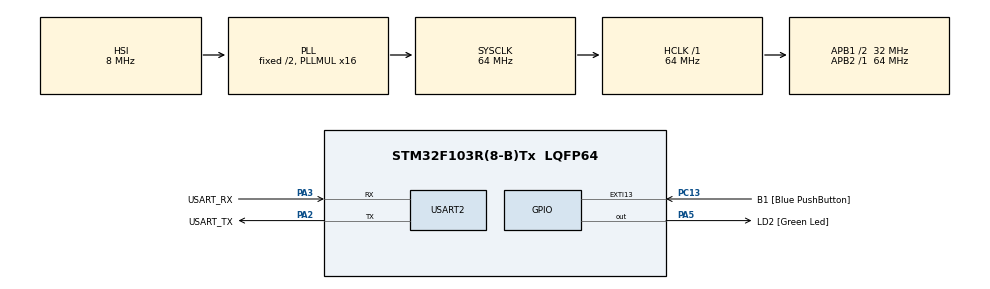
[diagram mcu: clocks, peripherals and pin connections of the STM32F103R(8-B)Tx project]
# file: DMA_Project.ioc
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Mcu.Family=STM32F1
Mcu.Name=STM32F103R(8-B)Tx
Mcu.Package=LQFP64
NVIC.EXTI15_10_IRQn=true\:0\:0\:false\:false\:true\:true\:true\:true
NVIC.PriorityGroup=NVIC_PRIORITYGROUP_4
PA13.GPIO_Label=TMS
PA13.Mode=Serial_Wire
PA13.Signal=SYS_JTMS-SWDIO
PA14.GPIO_Label=TCK
PA14.Mode=Serial_Wire
PA14.Signal=SYS_JTCK-SWCLK
PA2.GPIO_Label=USART_TX
PA2.GPIO_Mode=GPIO_MODE_AF_PP
PA2.GPIO_PuPd=GPIO_NOPULL
PA2.GPIO_Speed=GPIO_SPEED_FREQ_LOW
PA2.Mode=Asynchronous
PA2.Signal=USART2_TX
PA3.GPIO_Label=USART_RX
PA3.GPIO_Mode=GPIO_MODE_AF_PP
PA3.GPIO_PuPd=GPIO_NOPULL
PA3.GPIO_Speed=GPIO_SPEED_FREQ_LOW
PA3.Mode=Asynchronous
PA3.Signal=USART2_RX
PA5.GPIO_Label=LD2 [Green Led]
PA5.GPIO_ModeDefaultOutputPP=GPIO_MODE_OUTPUT_PP
PA5.GPIO_PuPd=GPIO_NOPULL
PA5.GPIO_Speed=GPIO_SPEED_FREQ_LOW
PA5.Signal=GPIO_Output
PB3.GPIO_Label=SWO
PB3.Signal=SYS_JTDO-TRACESWO
PC13-TAMPER-RTC.GPIO_Label=B1 [Blue PushButton]
PC13-TAMPER-RTC.GPIO_PuPd=GPIO_NOPULL
PC13-TAMPER-RTC.Signal=GPXTI13
PC14-OSC32_IN.Mode=LSE-External-Oscillator
PC14-OSC32_IN.Signal=RCC_OSC32_IN
PC15-OSC32_OUT.Mode=LSE-External-Oscillator
PC15-OSC32_OUT.Signal=RCC_OSC32_OUT
PD0-OSC_IN.Mode=HSE-External-Clock-Source
PD0-OSC_IN.Signal=RCC_OSC_IN
PD1-OSC_OUT.Mode=HSE-External-Clock-Source
PD1-OSC_OUT.Signal=RCC_OSC_OUT
ProjectManager.HeapSize=0x200
ProjectManager.StackSize=0x400
ProjectManager.TargetToolchain=STM32CubeIDE
RCC.AHBFreq_Value=64000000
RCC.APB1CLKDivider=RCC_HCLK_DIV2
RCC.APB1Freq_Value=32000000
RCC.APB1TimFreq_Value=64000000
RCC.APB2Freq_Value=64000000
RCC.APB2TimFreq_Value=64000000
RCC.HCLKFreq_Value=64000000
RCC.PLLMUL=RCC_PLL_MUL16
RCC.RTCClockSelection=RCC_RTCCLKSOURCE_LSE
RCC.SYSCLKFreq_VALUE=64000000
RCC.SYSCLKSource=RCC_SYSCLKSOURCE_PLLCLK
RCC.USBFreq_Value=64000000
USART2.VirtualMode=VM_ASYNC
board=NUCLEO-F103RB

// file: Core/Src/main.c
/* USER CODE BEGIN Header */
/**
  ******************************************************************************
  * @file           : main.c
  * @brief          : Main program body
  ******************************************************************************
  * @attention
  *
  * Copyright (c) 2026 STMicroelectronics.
  * All rights reserved.
  *
  * This software is licensed under terms that can be found in the LICENSE file
  * in the root directory of this software component.
  * If no LICENSE file comes with this software, it is provided AS-IS.
  *
  ******************************************************************************
  */
/* USER CODE END Header */
#include "main.h"

/* USER CODE BEGIN Includes */
#include <math.h>
#include <stdio.h>
#include "ensemble_link.h"   /* [합주] B1 DMA 전환·박자 펄스·게임 줄 */
/* USER CODE END Includes */

/* USER CODE BEGIN PD */
#define TIM_CLK  64000000UL   // Clock Configuration의 APB1 Timer clocks 값
#define FS       32000U       // 소리 샘플링 주파수
#define AUDIO_N  256U         // 소리 버퍼 길이
/* USER CODE END PD */

UART_HandleTypeDef huart2;

void SystemClock_Config(void);
static void MX_GPIO_Init(void);
static void MX_USART2_UART_Init(void);

/* USER CODE BEGIN 0 */
/* ===== 4줄 하프 테스트: 줄마다 다른 음 (F103RB, 폴링) ===== */
#define NCH 4
static const uint8_t ch[NCH] = {0, 1, 4, 8};                                  // A0 A1 A2 A3
static const float note_hz[NCH] = {261.63f, 293.66f, 329.63f, 392.00f};      // 도 레 미 솔

static uint16_t audio_buf[AUDIO_N];     // DMA → TIM3->CCR1 (0~255, 무음 128)
static int8_t   sine_tab[256];
static uint32_t phase[NCH], phase_inc[NCH];
static int32_t  vol[NCH];               // 줄마다 현재 음량 0~32
volatile uint8_t gate[NCH];             // 1이면 그 줄 소리 남

static void sound_test_init(void) {
  for (int i = 0; i < 256; i++)
    sine_tab[i] = (int8_t)(127.0f * sinf(6.2831853f * i / 256.0f));
  for (int c = 0; c < NCH; c++)
    phase_inc[c] = (uint32_t)(note_hz[c] * 4294967296.0 / FS);
}

// DMA가 버퍼 반을 다 쓰면 호출: 끊긴 줄들의 음을 더해서 화음
static void fill_audio(uint16_t *dst, uint32_t n) {
  for (uint32_t i = 0; i < n; i++) {
    int32_t s = 0;
    for (int c = 0; c < NCH; c++) {
      int32_t target = gate[c] ? 32 : 0;       // 4줄 다 울려도 0~255 안에 들어오게 32
      if (vol[c] < target) vol[c]++; else if (vol[c] > target) vol[c]--;
      phase[c] += phase_inc[c];
      s += (sine_tab[phase[c] >> 24] * vol[c]) / 128;
    }
    dst[i] = (uint16_t)(128 + s);
  }
}

static void audio_init(void) {
  RCC->APB2ENR |= RCC_APB2ENR_IOPAEN;
  RCC->AHBENR  |= RCC_AHBENR_DMA1EN;
  RCC->APB1ENR |= RCC_APB1ENR_TIM3EN | RCC_APB1ENR_TIM4EN;

  GPIOA->CRL = (GPIOA->CRL & ~(0xFU << (6 * 4))) | (0xBU << (6 * 4));   // PA6(D12) = TIM3_CH1
  GPIOA->CRL = (GPIOA->CRL & ~(0xFU << (5 * 4))) | (0x2U << (5 * 4));   // PA5(LD2) = 출력

  TIM3->PSC = 0; TIM3->ARR = 255; TIM3->CCR1 = 128;
  TIM3->CCMR1 = (6U << TIM_CCMR1_OC1M_Pos) | TIM_CCMR1_OC1PE;
  TIM3->CCER  = TIM_CCER_CC1E;
  TIM3->CR1   = TIM_CR1_ARPE | TIM_CR1_CEN;

  for (uint32_t i = 0; i < AUDIO_N; i++) audio_buf[i] = 128;

  DMA1_Channel7->CCR = 0;
  DMA1->IFCR = DMA_IFCR_CGIF7;
  DMA1_Channel7->CPAR  = (uint32_t)&TIM3->CCR1;
  DMA1_Channel7->CMAR  = (uint32_t)audio_buf;
  DMA1_Channel7->CNDTR = AUDIO_N;
  DMA1_Channel7->CCR = DMA_CCR_DIR | DMA_CCR_MSIZE_0 | DMA_CCR_PSIZE_0
                     | DMA_CCR_MINC | DMA_CCR_CIRC | DMA_CCR_PL_1
                     | DMA_CCR_HTIE | DMA_CCR_TCIE;
  NVIC_SetPriority(DMA1_Channel7_IRQn, 1);
  NVIC_EnableIRQ(DMA1_Channel7_IRQn);
  DMA1_Channel7->CCR |= DMA_CCR_EN;

  TIM4->PSC = 0; TIM4->ARR = TIM_CLK / FS - 1;
  TIM4->DIER = TIM_DIER_UDE;
  TIM4->CR1  = TIM_CR1_CEN;
}

void DMA1_Channel7_IRQHandler(void) {
  uint32_t isr = DMA1->ISR;
  if (isr & DMA_ISR_HTIF7) { DMA1->IFCR = DMA_IFCR_CHTIF7; fill_audio(&audio_buf[0], AUDIO_N / 2); }
  if (isr & DMA_ISR_TCIF7) { DMA1->IFCR = DMA_IFCR_CTCIF7; fill_audio(&audio_buf[AUDIO_N / 2], AUDIO_N / 2); }
}

/* ---- 광센서 4개: CPU가 차례로 읽음 (테스트용, DMA 아님) ---- */
static void adc_init(void) {
  RCC->APB2ENR |= RCC_APB2ENR_IOPAEN | RCC_APB2ENR_IOPBEN | RCC_APB2ENR_ADC1EN;
  RCC->CFGR = (RCC->CFGR & ~RCC_CFGR_ADCPRE) | RCC_CFGR_ADCPRE_DIV6;
  GPIOA->CRL &= ~((0xFU << (0 * 4)) | (0xFU << (1 * 4)) | (0xFU << (4 * 4)));  // PA0 PA1 PA4
  GPIOB->CRL &= ~(0xFU << (0 * 4));                                          // PB0
  ADC1->CR2 = ADC_CR2_ADON;
  HAL_Delay(1);
  ADC1->CR2 |= ADC_CR2_RSTCAL; while (ADC1->CR2 & ADC_CR2_RSTCAL);
  ADC1->CR2 |= ADC_CR2_CAL;    while (ADC1->CR2 & ADC_CR2_CAL);
  uint32_t smpr2 = 0;
  for (int c = 0; c < NCH; c++) smpr2 |= 7U << (3 * ch[c]);
  ADC1->SMPR2 = smpr2;
  ADC1->SQR1  = 0;
  ADC1->CR2   = ADC_CR2_ADON | ADC_CR2_EXTTRIG | (7U << ADC_CR2_EXTSEL_Pos);
}

static uint16_t adc_read(uint8_t channel) {
  ADC1->SQR3 = channel;
  ADC1->CR2 |= ADC_CR2_SWSTART;
  while (!(ADC1->SR & ADC_SR_EOC));
  return (uint16_t)ADC1->DR;
}

static uint16_t adc_read_avg(uint8_t channel) {    // 8번 평균
  uint32_t s = 0;
  for (int k = 0; k < 8; k++) s += adc_read(channel);
  return (uint16_t)(s / 8);
}

/* ===== [합주] 광센서 4개를 DMA로 읽기 (DMA ON) / 위의 폴링 그대로 (DMA OFF) =====
 * 두 모드 모두 "채널마다 최근 8번 평균"을 같은 메인 루프 주기로 쓴다. 다른 것은 누가 ADC 값을 옮기나 하나뿐.
 * DMA ON : ADC1 scan(0→1→4→8) + 연속 변환, DMA1 채널1 circular로 adc_dma_buf에 계속 채움 (CPU는 평균만)
 * DMA OFF: adc_read_avg() — CPU가 채널마다 SWSTART → EOC 기다림을 32번
 * 소리(TIM3_CH1 PWM + DMA1 채널7)는 건드리지 않음. 채널1은 ADC1 전용이라 소리와 안 겹침 */
#define SETS 8
static volatile uint16_t adc_dma_buf[SETS * NCH];
static const char *const harp_note[NCH] = {"DO", "RE", "MI", "SOL"};   /* ch[] 순서와 같게 */

static void adc_dma_start(void) {
  RCC->AHBENR |= RCC_AHBENR_DMA1EN;
  DMA1_Channel1->CCR   = 0;
  DMA1_Channel1->CPAR  = (uint32_t)&ADC1->DR;
  DMA1_Channel1->CMAR  = (uint32_t)adc_dma_buf;
  DMA1_Channel1->CNDTR = SETS * NCH;
  DMA1_Channel1->CCR   = DMA_CCR_PL_0 | DMA_CCR_MSIZE_0 | DMA_CCR_PSIZE_0   /* 16비트 ↔ 16비트, 소리(PL_1)보다 낮은 우선순위 */
                       | DMA_CCR_MINC | DMA_CCR_CIRC;
  DMA1_Channel1->CCR  |= DMA_CCR_EN;
  ADC1->SQR1 = (NCH - 1U) << ADC_SQR1_L_Pos;                                     /* 변환 4개 */
  ADC1->SQR3 = ch[0] | (ch[1] << 5) | (ch[2] << 10) | ((uint32_t)ch[3] << 15);   /* 0 → 1 → 4 → 8 */
  ADC1->CR1  = ADC_CR1_SCAN;
  ADC1->CR2  = ADC_CR2_ADON | ADC_CR2_CONT | ADC_CR2_DMA | ADC_CR2_EXTTRIG | (7U << ADC_CR2_EXTSEL_Pos);
  ADC1->CR2 |= ADC_CR2_SWSTART;
}
static void adc_dma_stop(void) {
  ADC1->CR2 &= ~(ADC_CR2_CONT | ADC_CR2_DMA);     /* 지금 돌던 한 바퀴가 끝나면 멈춤 */
  HAL_Delay(1);
  DMA1_Channel1->CCR &= ~DMA_CCR_EN;
  ADC1->CR1  = 0;                                   /* scan 끔 → adc_read()가 한 채널씩 */
  ADC1->SQR1 = 0;
  (void)ADC1->DR;                                   /* EOC 지움 */
}
void link_on_mode_change(uint8_t on) { if (on) adc_dma_start(); else adc_dma_stop(); }   /* B1 누를 때 모듈이 부름 */

static uint16_t read_ch(int c) {                    /* 채널 c의 8번 평균 */
  if (link_dma_on()) {
    uint32_t s = 0;
    for (int k = 0; k < SETS; k++) s += adc_dma_buf[k * NCH + c];
    return (uint16_t)(s / SETS);
  }
  return adc_read_avg(ch[c]);
}
/* USER CODE END 0 */

int main(void)
{

  /* MCU Configuration--------------------------------------------------------*/

  /* Reset of all peripherals, Initializes the Flash interface and the Systick. */
  HAL_Init();

  /* Configure the system clock */
  SystemClock_Config();

  /* Initialize all configured peripherals */
  MX_GPIO_Init();
  MX_USART2_UART_Init();
  /* USER CODE BEGIN 2 */
  sound_test_init();
  audio_init();
  adc_init();
  link_init();                                       /* [합주] USART2(HAL) 초기화 뒤 */
  link_on_mode_change(link_dma_on());                /* [합주] 시작 모드(기본 DMA ON)로 센서 읽기 설정 */
  HAL_Delay(5);                                      /* [합주] DMA 버퍼가 한 번 다 찰 때까지 (약 0.8ms) */

  for (int k = 0; k < 6; k++) { GPIOA->ODR ^= (1U << 5); HAL_Delay(150); }   // 시작 표시 3번
  GPIOA->ODR &= ~(1U << 5);

  #define CUT_ON   150     // 기준보다 이만큼 어두워지면 "끊김"
  #define CUT_OFF   90     // 이 안으로 돌아오면 "복귀"
  char msg[100];
  uint16_t lit[NCH];
  uint32_t sum[NCH] = {0};
  for (int k = 0; k < 50; k++) {                   // 1초: 손 대지 말 것
    for (int c = 0; c < NCH; c++) sum[c] += read_ch(c);
    HAL_Delay(20);
  }
  for (int c = 0; c < NCH; c++) lit[c] = (uint16_t)(sum[c] / 50);
  uint32_t last_print = 0, track = 0;
  int drop[NCH];
  /* USER CODE END 2 */

  /* Infinite loop */
  while (1)
  {

    /* USER CODE BEGIN 3 */
	    link_loop();                                            // [합주] 줄 보내기, B1, #STAT
	    uint8_t any = 0;
	    uint16_t vv[NCH];
	    link_busy_begin();                                      // [합주] CPU 사용률: 센서 읽기 시간만
	    for (int c = 0; c < NCH; c++) vv[c] = read_ch(c);
	    link_busy_end();
	    for (int c = 0; c < NCH; c++) {
	      uint16_t v = vv[c];
	      drop[c] = (int)lit[c] - (int)v;                       // 어두워진 만큼(+)
	      if (!gate[c] && drop[c] > CUT_ON)  { gate[c] = 1; link_note_on(harp_note[c], 0); }   // [합주] 줄을 친 순간
	      if (gate[c]  && drop[c] < CUT_OFF) gate[c] = 0;
	      if (!gate[c] && track == 0) {                         // 안 가린 줄만 기준값이 천천히 따라감
	        if (v > lit[c]) lit[c]++; else if (v < lit[c]) lit[c]--;
	      }
	      any |= gate[c];
	    }
	    if (++track >= 20) track = 0;
	    (void)any;   // [합주] LD2는 DMA 모드 표시로 씀(켜짐 = DMA OFF). 원래: 하나라도 끊기면 LD2 켜짐

	    if (HAL_GetTick() - last_print >= 100) {
	      last_print = HAL_GetTick();
	      int n = snprintf(msg, sizeof msg, "#S2(A1)  now=%4d  lit=%4u  drop=%5d  cut=%u\r\n",
	                       (int)lit[1] - drop[1], lit[1], drop[1], gate[1]);
	      HAL_UART_Transmit(&huart2, (uint8_t *)msg, n, 100);
	    }
	    HAL_Delay(5);
  }

  /* USER CODE END 3 */
}

void SystemClock_Config(void)
{
  RCC_OscInitTypeDef RCC_OscInitStruct = {0};
  RCC_ClkInitTypeDef RCC_ClkInitStruct = {0};

  /** Initializes the RCC Oscillators according to the specified parameters
  * in the RCC_OscInitTypeDef structure.
  */
  RCC_OscInitStruct.OscillatorType = RCC_OSCILLATORTYPE_HSI;
  RCC_OscInitStruct.HSIState = RCC_HSI_ON;
  RCC_OscInitStruct.HSICalibrationValue = RCC_HSICALIBRATION_DEFAULT;
  RCC_OscInitStruct.PLL.PLLState = RCC_PLL_ON;
  RCC_OscInitStruct.PLL.PLLSource = RCC_PLLSOURCE_HSI_DIV2;
  RCC_OscInitStruct.PLL.PLLMUL = RCC_PLL_MUL16;
  if (HAL_RCC_OscConfig(&RCC_OscInitStruct) != HAL_OK)
  {
    Error_Handler();
  }

  /** Initializes the CPU, AHB and APB buses clocks
  */
  RCC_ClkInitStruct.ClockType = RCC_CLOCKTYPE_HCLK|RCC_CLOCKTYPE_SYSCLK
                              |RCC_CLOCKTYPE_PCLK1|RCC_CLOCKTYPE_PCLK2;
  RCC_ClkInitStruct.SYSCLKSource = RCC_SYSCLKSOURCE_PLLCLK;
  RCC_ClkInitStruct.AHBCLKDivider = RCC_SYSCLK_DIV1;
  RCC_ClkInitStruct.APB1CLKDivider = RCC_HCLK_DIV2;
  RCC_ClkInitStruct.APB2CLKDivider = RCC_HCLK_DIV1;

  if (HAL_RCC_ClockConfig(&RCC_ClkInitStruct, FLASH_LATENCY_2) != HAL_OK)
  {
    Error_Handler();
  }
}

static void MX_USART2_UART_Init(void)
{

  huart2.Instance = USART2;
  huart2.Init.BaudRate = 115200;
  huart2.Init.WordLength = UART_WORDLENGTH_8B;
  huart2.Init.StopBits = UART_STOPBITS_1;
  huart2.Init.Parity = UART_PARITY_NONE;
  huart2.Init.Mode = UART_MODE_TX_RX;
  huart2.Init.HwFlowCtl = UART_HWCONTROL_NONE;
  huart2.Init.OverSampling = UART_OVERSAMPLING_16;
  if (HAL_UART_Init(&huart2) != HAL_OK)
  {
    Error_Handler();
  }

}

static void MX_GPIO_Init(void)
{
  GPIO_InitTypeDef GPIO_InitStruct = {0};

  /* GPIO Ports Clock Enable */
  __HAL_RCC_GPIOC_CLK_ENABLE();
  __HAL_RCC_GPIOD_CLK_ENABLE();
  __HAL_RCC_GPIOA_CLK_ENABLE();
  __HAL_RCC_GPIOB_CLK_ENABLE();

  /*Configure GPIO pin Output Level */
  HAL_GPIO_WritePin(LD2_GPIO_Port, LD2_Pin, GPIO_PIN_RESET);

  /*Configure GPIO pin : B1_Pin */
  GPIO_InitStruct.Pin = B1_Pin;
  GPIO_InitStruct.Mode = GPIO_MODE_IT_RISING;
  GPIO_InitStruct.Pull = GPIO_NOPULL;
  HAL_GPIO_Init(B1_GPIO_Port, &GPIO_InitStruct);

  /*Configure GPIO pin : LD2_Pin */
  GPIO_InitStruct.Pin = LD2_Pin;
  GPIO_InitStruct.Mode = GPIO_MODE_OUTPUT_PP;
  GPIO_InitStruct.Pull = GPIO_NOPULL;
  GPIO_InitStruct.Speed = GPIO_SPEED_FREQ_LOW;
  HAL_GPIO_Init(LD2_GPIO_Port, &GPIO_InitStruct);

  /* EXTI interrupt init*/
  HAL_NVIC_SetPriority(EXTI15_10_IRQn, 0, 0);
  HAL_NVIC_EnableIRQ(EXTI15_10_IRQn);

}

void Error_Handler(void)
{
  __disable_irq();
  while (1)
  {
  }
}
